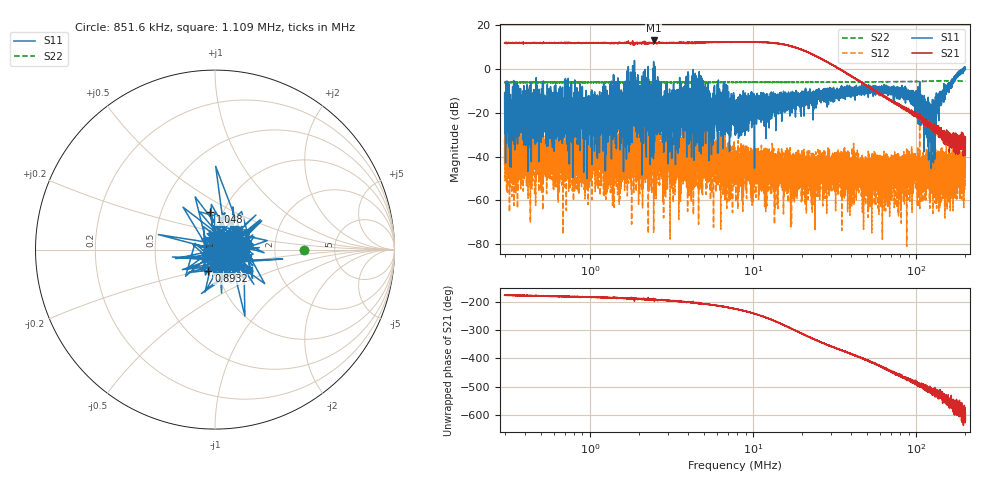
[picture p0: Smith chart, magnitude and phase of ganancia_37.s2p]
# Hz S DB R 50
! CMT, M5065, 19127446, 24.2.4/2
! Date: 11/1/2024 3:34:50 PM
! Data: Format (Calibration Info)
! Freq	S11:dB/Ang(F2)	S21:dB/Ang(F2)	S12:dB/Ang(F2)	S22:dB/Ang(F2)
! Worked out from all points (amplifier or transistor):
!   9000 points, 300 kHz to 200 MHz, reference 50 ohm
!   highest |S21| = 13.1 dB at 2.458 MHz (marker M1)
!   |S21| within 3 dB of that: start of sweep to 17.78 MHz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
!   unconditionally stable (mu >= 1): start of sweep to 1.684 MHz; 2.51 MHz to 4.288 MHz; 4.741 MHz to 192 MHz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
!   at 886.8 kHz: K = 19.57, MAG = 13.3 dB, |S12| = -46.4 dB
!   at 7.749 MHz: K = 9.36, MAG = 13.7 dB, |S12| = -40.5 dB
!   at 200 MHz: K = -61.78, MSG = 6.3 dB, |S12| = -43.7 dB
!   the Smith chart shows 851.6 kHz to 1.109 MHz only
!   S11 on the Smith chart (normalised r, x): 851.6 kHz: 1.23, +0.28; 893.2 kHz: 0.90, -0.22; 1.048 MHz: 0.87, +0.38; 1.109 MHz: 1.42, -0.33
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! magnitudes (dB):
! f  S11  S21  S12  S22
! 300 kHz  -11.0  11.9  -32.0  -6.0
! 321.3 kHz  -21.9  12.1  -65.3  -6.0
! 851.6 kHz  -15.8  12.0  -56.0  -6.1
! 886.8 kHz  -27.3  12.1  -46.4  -6.0
! 893.2 kHz  -18.1  12.1  -40.9  -6.0
! 1.048 MHz  -13.5  12.1  -44.5  -6.0
! 1.109 MHz  -13.2  11.9  -38.3  -6.1
! 1.827 MHz  -14.7  12.1  -33.8  -5.9
! 2.458 MHz  3.5  13.1  -74.6  -6.0
! 2.621 MHz  -22.6  12.1  -48.7  -6.1
! 3.08 MHz  -17.2  12.0  -42.8  -6.0
! 4.076 MHz  -13.1  12.2  -46.8  -6.0
! 4.606 MHz  -4.2  11.9  -54.9  -6.0
! 5.486 MHz  -18.1  12.3  -38.5  -6.1
! 7.749 MHz  -20.5  12.4  -40.5  -6.0
! 14.48 MHz  -11.3  11.8  -41.4  -6.1
! 22.91 MHz  -13.3  6.9  -45.4  -6.0
! 67.71 MHz  -10.1  -13.9  -49.2  -5.7
! 99.52 MHz  -15.9  -20.7  -43.8  -5.6
! 122.7 MHz  -31.8  -26.3  -52.1  -5.5
! 143 MHz  -13.1  -29.6  -50.4  -5.3
! 200 MHz  0.1  -31.2  -43.7  -5.4
